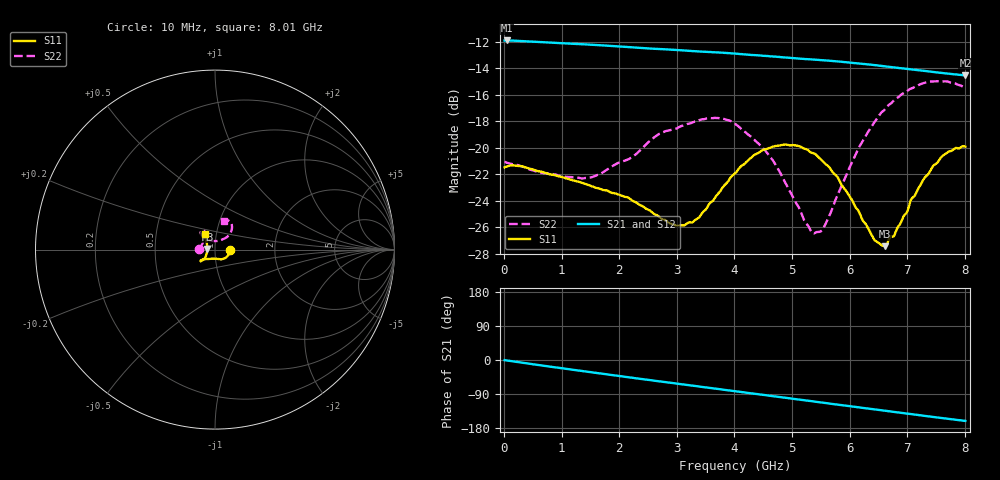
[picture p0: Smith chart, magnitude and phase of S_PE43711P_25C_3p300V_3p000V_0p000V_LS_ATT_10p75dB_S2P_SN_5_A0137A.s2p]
! Device ID: PE43711P
! File Path: z:\PE43711P\CHAR_NOM_04282014\AMB\3p300\LS_ATT_10p75dB\PE43711P_AMB_3p300V_3p000V_0p000V_LS_ATT_10p75dB_S2P_SN_5_A0137A.s2p
! Serial: 5
! Lot: A0137A
! Temp: 25C
! VDD: 3.300
! VSS: 0.000
! Control_Hi: 3.000
! Control_Lo: 0.000
! Attenuation Step: 10.75dB
! Port 1: RF1
! Port 2: RF2
! ThroughPath:1-2
! IDD: 0.0001275059
! ISS: -2.018e-007
#  Hz  S  RI  R  50
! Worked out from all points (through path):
!   801 points, 10 MHz to 8.01 GHz, reference 50 ohm
!   highest |S21| = -11.90 dB at 50 MHz (marker M1); lowest = -14.5 dB at 8.01 GHz (marker M2)
!   group delay of S21, straight-line fit = 55.5 ps
!   lowest |S11| = -27.4 dB at 6.61 GHz (marker M3), VSWR 1.09, Z = 45.9 + j0.375 ohm
!   |S11| at or under -10 dB: start of sweep to end of sweep
!   |S22| runs from -26.5 to -15.0 dB; largest |S21 - S12| = 0.00038
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1e7  0.0843 -0.000229  0.2542 -0.00132  0.2544 -0.00133  -0.0887 0.000757
5e7  0.085 -0.00183  0.2542 -0.00528  0.2544 -0.00525  -0.0878 0.00244
1.35e9  0.0571 -0.0468  0.2153 -0.1192  0.2154 -0.1193  -0.0676 0.0361
2.18e9  0.0351 -0.054  0.1666 -0.1727  0.1668 -0.1727  -0.0544 0.0729
2.68e9  0.0178 -0.0522  0.1323 -0.1955  0.1323 -0.1956  -0.0554 0.0978
2.99e9  0.00272 -0.0509  0.1095 -0.2069  0.1095 -0.2071  -0.059 0.1024
3.29e9  -0.0143 -0.0507  0.0864 -0.215  0.0865 -0.2151  -0.0644 0.1073
3.69e9  -0.0406 -0.0522  0.0554 -0.2222  0.0553 -0.2223  -0.0753 0.1055
4.01e9  -0.0594 -0.0537  0.0297 -0.2248  0.0296 -0.2249  -0.0802 0.0935
4.34e9  -0.0743 -0.0573  0.00383 -0.2239  0.0038 -0.224  -0.0725 0.0795
4.69e9  -0.0803 -0.0616  -0.0229 -0.2197  -0.023 -0.2197  -0.0586 0.0656
5.07e9  -0.0792 -0.0642  -0.0506 -0.2117  -0.0506 -0.2118  -0.0317 0.0531
5.35e9  -0.0736 -0.0611  -0.0698 -0.2038  -0.0699 -0.2041  -0.00695 0.0473
5.55e9  -0.0671 -0.0572  -0.0832 -0.1971  -0.0832 -0.1973  0.0135 0.0481
6.16e9  -0.0492 -0.0297  -0.12 -0.1702  -0.1201 -0.1703  0.0692 0.0722
6.43e9  -0.0438 -0.01  -0.1335 -0.1559  -0.1336 -0.156  0.0855 0.0914
6.61e9  -0.0423 0.00407  -0.1413 -0.1459  -0.1413 -0.146  0.0909 0.1058
6.68e9  -0.0437 0.011  -0.1441 -0.142  -0.1441 -0.1422  0.0927 0.1117
7.05e9  -0.0469 0.0411  -0.1573 -0.1201  -0.1572 -0.1202  0.093 0.1385
7.45e9  -0.0527 0.0672  -0.1679 -0.0959  -0.168 -0.096  0.0779 0.1602
7.7e9  -0.0558 0.0784  -0.1727 -0.0807  -0.1727 -0.0806  0.0635 0.1662
8.01e9  -0.054 0.0855  -0.1771 -0.0618  -0.1773 -0.0615  0.0483 0.1611
